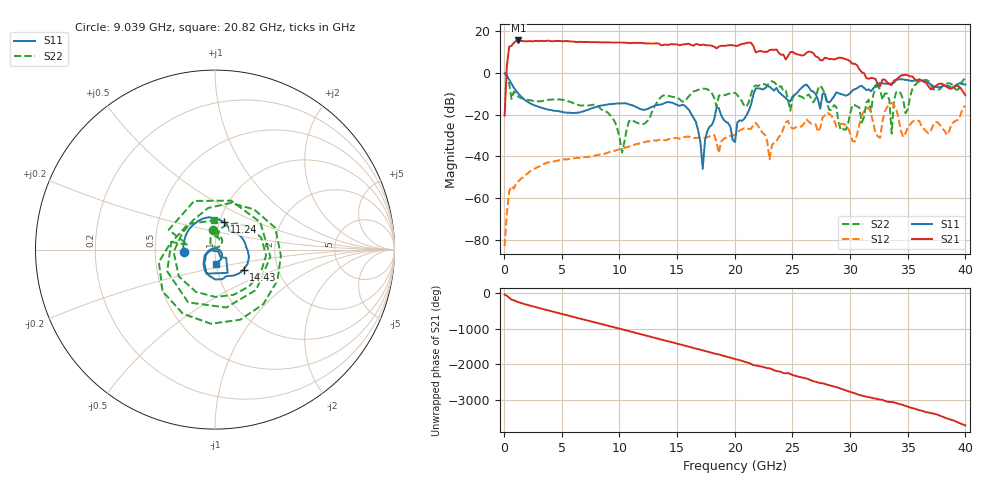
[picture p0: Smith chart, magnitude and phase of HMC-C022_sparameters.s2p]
!Hittite Microwave Corporation
!20 Alpha Road
!Chelmsford, MA 01824
!Tel: 978-250-3343
!Fax: 978-250-3373
!Device: HMC-C022, 2-20 GHz, Wideband LNA Module
!Misc: Vdd = +12V, Idd = 75 mA, Room Temperature
# GHZ S DB R 50
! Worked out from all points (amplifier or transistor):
!   201 points, 50 MHz to 40 GHz, reference 50 ohm
!   highest |S21| = 15.4 dB at 1.248 GHz (marker M1)
!   |S21| within 3 dB of that: 451.3 MHz to 18.22 GHz (17.77 GHz wide, 190 % of centre) (the widest 1 of 2)
!   unconditionally stable (mu >= 1): start of sweep to end of sweep
!   at 6.642 GHz: K = 9.55, MAG = 14.9 dB, |S12| = -40.7 dB
!   at 20.02 GHz: K = 3.19, MAG = 13.4 dB, |S12| = -29.8 dB
!   at 40 GHz: K = 4.01, MAG = -6.4 dB, |S12| = -15.9 dB
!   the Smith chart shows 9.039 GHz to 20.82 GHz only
!   S11 on the Smith chart (normalised r, x): 9.039 GHz: 0.70, -0.02; 11.24 GHz: 1.05, +0.33; 14.43 GHz: 1.34, -0.31; 20.82 GHz: 1.00, -0.16
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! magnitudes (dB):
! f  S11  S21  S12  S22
! 50 MHz  -0.3  -20.6  -83.0  0.0
! 449.5 MHz  -3.4  12.4  -56.7  -5.5
! 1.248 GHz  -10.1  15.4  -51.9  -11.5
! 6.841 GHz  -18.6  14.7  -40.5  -15.7
! 9.039 GHz  -15.1  14.5  -38.2  -19.3
! 10.24 GHz  -14.7  14.4  -36.3  -38.2
! 11.24 GHz  -15.8  14.3  -34.6  -23.1
! 13.43 GHz  -15.3  13.9  -32.1  -12.8
! 14.43 GHz  -14.2  13.6  -31.6  -11.3
! 16.63 GHz  -23.5  13.7  -31.2  -8.7
! 17.23 GHz  -46.0  13.4  -31.2  -7.6
! 18.43 GHz  -16.6  11.6  -33.5  -16.3
! 20.02 GHz  -33.2  12.9  -29.8  -9.6
! 20.82 GHz  -22.1  13.8  -26.6  -15.8
! 23.02 GHz  -6.7  10.8  -41.4  -4.6
! 26.82 GHz  -9.0  9.4  -24.4  -14.2
! 29.61 GHz  -11.0  6.5  -25.0  -27.3
! 32.61 GHz  -4.9  -6.5  -31.1  -8.2
! 33.41 GHz  -5.3  -5.5  -14.7  -13.1
! 33.61 GHz  -5.1  -5.9  -14.5  -29.1
! 34.01 GHz  -3.5  -3.3  -17.5  -9.3
! 40 GHz  -5.6  -10.8  -15.9  -2.7
